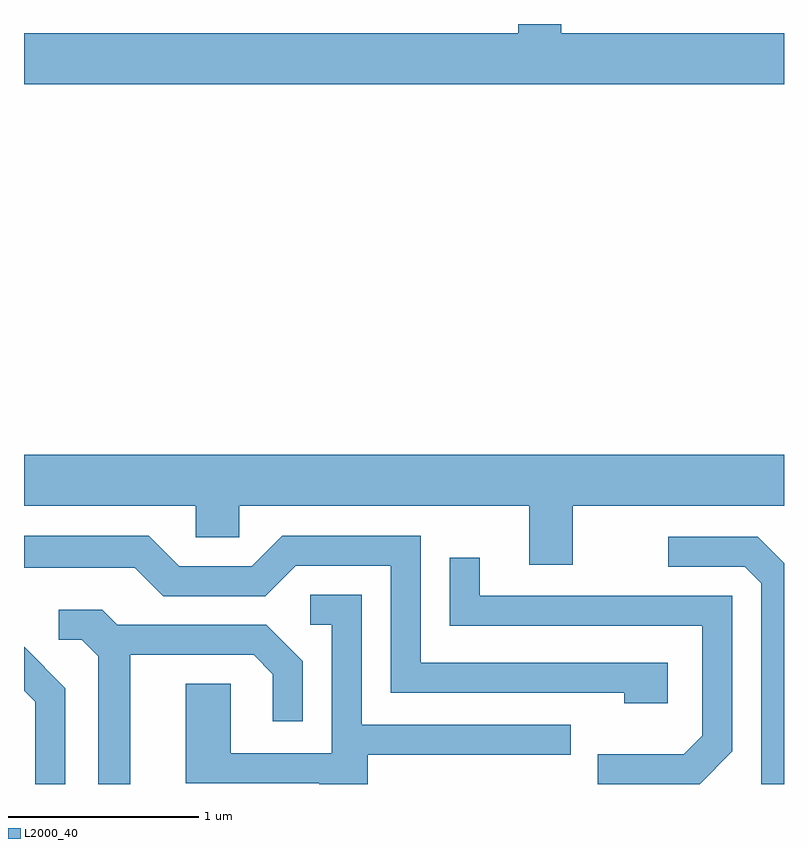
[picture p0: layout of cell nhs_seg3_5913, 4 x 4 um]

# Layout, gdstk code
import gdstk
lib = gdstk.Library(unit=1e-6, precision=1e-09)
def P(c, l, *ps):  # polygons
    for p in ps: c.add(gdstk.Polygon(p, *l))
L2000_40 = (2000, 40)

nhs_seg3_5913 = lib.new_cell('nhs_seg3_5913')
P(nhs_seg3_5913, L2000_40, [(363.611,1121.844),(362.439,1121.844),(362.439,1121.892),(362.211,1121.892),(362.211,1121.844),(359.611,1121.844),(359.611,1121.576),(363.611,1121.576)],
  [(362.499,1119.356),(363.611,1119.356),(363.611,1119.624),(359.611,1119.624),(359.611,1119.356),(360.516,1119.356),(360.516,1119.191),(360.744,1119.191),(360.744,1119.356),(362.271,1119.356),(362.271,1119.046),(362.499,1119.046)],
  [(362.999,1118.529),(361.699,1118.529),(361.699,1119.199),(360.969,1119.199),(360.809,1119.039),(360.427,1119.039),(360.267,1119.199),(359.611,1119.199),(359.611,1119.031),(360.194,1119.031),(360.344,1118.881),(360.882,1118.881),(361.042,1119.041),(361.541,1119.041),(361.541,1118.371),(362.771,1118.371),(362.771,1118.316),(362.999,1118.316)],
  [(363.611,1119.055),(363.472,1119.194),(363.003,1119.194),(363.003,1119.036),(363.404,1119.036),(363.491,1118.949),(363.491,1117.892),(363.611,1117.892)],
  [(363.339,1118.064),(363.339,1118.884),(362.009,1118.884),(362.009,1119.083),(361.851,1119.083),(361.851,1118.726),(363.181,1118.726),(363.181,1118.147),(363.084,1118.049),(362.631,1118.049),(362.631,1117.892),(363.168,1117.892)],
  [(361.419,1118.046),(362.488,1118.046),(362.488,1118.204),(361.389,1118.204),(361.389,1118.889),(361.118,1118.889),(361.118,1118.731),(361.231,1118.731),(361.231,1118.054),(360.699,1118.054),(360.699,1118.419),(360.461,1118.419),(360.461,1117.896),(361.165,1117.896),(361.165,1117.892),(361.419,1117.892)],
  [(360.169,1118.571),(360.819,1118.571),(360.921,1118.469),(360.921,1118.223),(361.079,1118.223),(361.079,1118.537),(360.887,1118.729),(360.102,1118.729),(360.022,1118.809),(359.793,1118.809),(359.793,1118.651),(359.914,1118.651),(360.001,1118.564),(360.001,1117.892),(360.169,1117.892)],
  [(359.829,1118.397),(359.611,1118.615),(359.611,1118.384),(359.671,1118.324),(359.671,1117.892),(359.829,1117.892)])

lib.write_gds('nhs_seg3_5913.gds')
